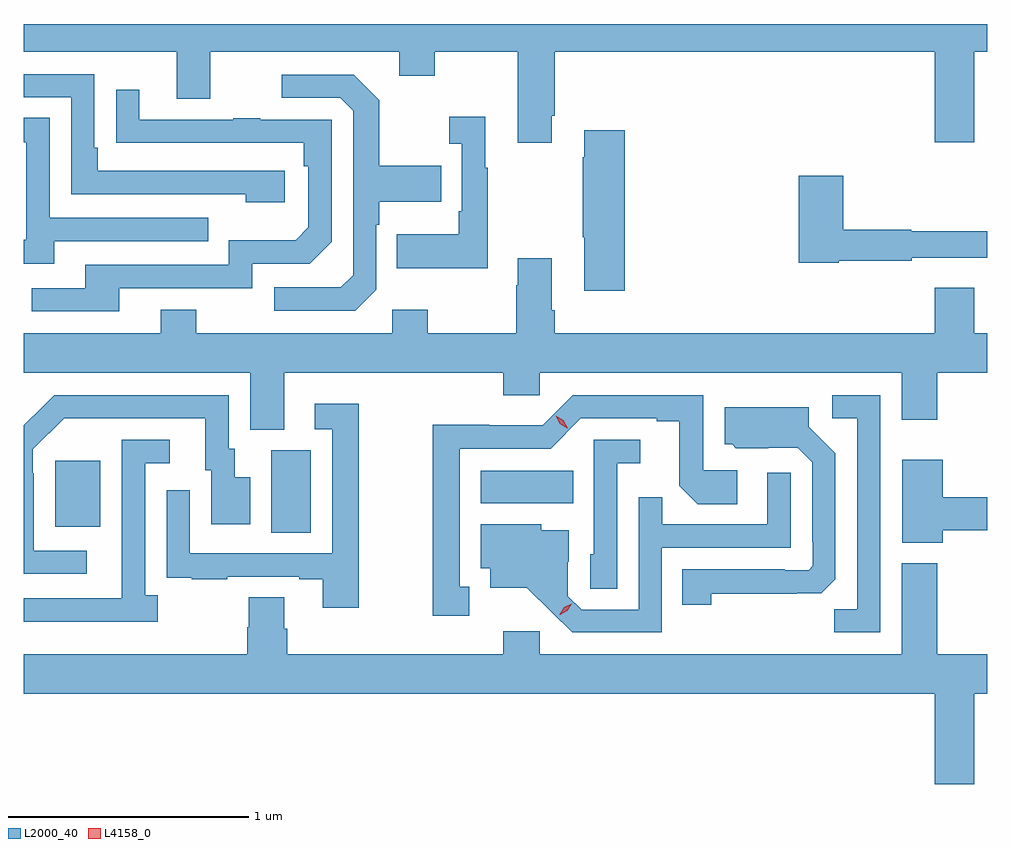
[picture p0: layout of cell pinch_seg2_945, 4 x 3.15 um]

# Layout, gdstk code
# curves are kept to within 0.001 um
import gdstk
lib = gdstk.Library(unit=1e-6, precision=1e-09)
def R(c, l, rs):  # rectangles x0, y0, x1, y1
    for r in rs: c.add(gdstk.rectangle(r[:2], r[2:], *l))
def P(c, l, *ps):  # polygons
    for p in ps: c.add(gdstk.Polygon(p, *l))
L2000_40 = (2000, 40)
L4158_0 = (4158, 0)

pinch_seg2_945 = lib.new_cell('pinch_seg2_945')
R(pinch_seg2_945, L2000_40, [(318.098,664.288,318.262,664.632), (317.201,664.313,317.389,664.588), (318.968,664.412,319.352,664.546)])
P(pinch_seg2_945, L2000_40, [(319.261,666.019),(319.274,666.019),(319.274,666.284),(320.852,666.284),(320.852,665.91),(321.016,665.91),(321.016,666.284),(321.07,666.284),(321.07,666.4),(317.07,666.4),(317.07,666.284),(317.705,666.284),(317.705,666.09),(317.845,666.09),(317.845,666.284),(318.629,666.284),(318.629,666.185),(318.777,666.185),(318.777,666.284),(319.121,666.284),(319.121,665.907),(319.261,665.907)],
  [(318.154,665.79),(317.377,665.79),(317.377,665.887),(317.364,665.887),(317.364,666.192),(317.07,666.192),(317.07,666.096),(317.268,666.096),(317.268,665.694),(317.993,665.694),(317.993,665.66),(318.154,665.66)],
  [(318.534,665.298),(318.534,665.567),(318.547,665.567),(318.547,665.663),(318.803,665.663),(318.803,665.811),(318.547,665.811),(318.547,666.083),(318.441,666.189),(318.141,666.189),(318.141,666.093),(318.384,666.093),(318.438,666.039),(318.438,665.358),(318.387,665.307),(318.111,665.307),(318.111,665.211),(318.447,665.211)],
  [(317.467,665.304),(318.018,665.304),(318.018,665.406),(318.258,665.406),(318.348,665.496),(318.348,666.003),(318.053,666.003),(318.053,666.008),(317.941,666.008),(317.941,666.003),(317.551,666.003),(317.551,666.127),(317.455,666.127),(317.455,665.908),(318.232,665.907),(318.232,665.81),(318.252,665.81),(318.252,665.556),(318.199,665.503),(317.922,665.503),(317.922,665.4),(317.327,665.4),(317.327,665.304),(317.103,665.304),(317.103,665.208),(317.467,665.208)],
  [(318.997,665.803),(318.985,665.803),(318.985,666.016),(318.837,666.016),(318.837,665.903),(318.888,665.903),(318.888,665.623),(318.876,665.623),(318.876,665.527),(318.619,665.527),(318.619,665.387),(318.997,665.387)],
  [(317.197,665.499),(317.837,665.499),(317.837,665.595),(317.178,665.595),(317.178,666.011),(317.07,666.011),(317.07,665.91),(317.082,665.91),(317.082,665.505),(317.07,665.505),(317.07,665.405),(317.197,665.405)],
  [(319.565,665.959),(319.397,665.959),(319.397,665.846),(319.39,665.846),(319.39,665.515),(319.397,665.515),(319.397,665.292),(319.565,665.292)],
  [(320.454,665.418),(320.756,665.418),(320.756,665.43),(321.07,665.43),(321.07,665.539),(320.754,665.539),(320.754,665.546),(320.471,665.546),(320.471,665.77),(320.288,665.77),(320.288,665.41),(320.454,665.41)],
  [(318.151,664.952),(319.061,664.952),(319.061,664.859),(319.212,664.859),(319.212,664.952),(320.714,664.952),(320.714,664.758),(320.862,664.758),(320.862,664.952),(321.07,664.952),(321.07,665.116),(321.016,665.116),(321.016,665.305),(320.852,665.305),(320.852,665.116),(319.274,665.116),(319.274,665.212),(319.261,665.212),(319.261,665.428),(319.121,665.428),(319.121,665.315),(319.114,665.315),(319.114,665.116),(318.747,665.116),(318.747,665.215),(318.6,665.215),(318.6,665.116),(317.787,665.116),(317.787,665.215),(317.639,665.215),(317.639,665.116),(317.07,665.116),(317.07,664.952),(318.011,664.952),(318.011,664.717),(318.151,664.717)],
  [(317.332,664.215),(317.112,664.215),(317.112,664.535),(317.109,664.535),(317.109,664.635),(317.238,664.764),(317.825,664.764),(317.825,664.548),(317.849,664.548),(317.849,664.323),(318.01,664.323),(318.01,664.519),(317.947,664.519),(317.947,664.638),(317.922,664.638),(317.922,664.86),(317.198,664.86),(317.107,664.769),(317.106,664.77),(317.07,664.734),(317.07,664.119),(317.332,664.119)],
  [(320.625,664.86),(320.427,664.86),(320.427,664.764),(320.529,664.764),(320.529,663.971),(320.434,663.971),(320.434,663.876),(320.625,663.876)],
  [(318.919,664.065),(318.88,664.065),(318.88,664.638),(319.257,664.638),(319.383,664.764),(319.697,664.764),(319.697,664.752),(319.791,664.752),(319.791,664.484),(319.867,664.408),(320.032,664.408),(320.032,664.548),(319.89,664.548),(319.89,664.86),(319.35,664.86),(319.224,664.734),(319.002,664.734),(319.002,664.736),(318.769,664.736),(318.769,663.945),(318.919,663.945)],
  [(318.46,664.825),(318.279,664.825),(318.279,664.719),(318.351,664.719),(318.351,664.203),(317.76,664.203),(317.76,664.465),(317.664,664.465),(317.664,664.21),(317.665,664.21),(317.665,664.101),(317.767,664.101),(317.767,664.095),(317.915,664.095),(317.915,664.107),(318.215,664.107),(318.215,664.095),(318.311,664.095),(318.311,663.978),(318.46,663.978)],
  [(319.923,664.036),(320.38,664.037),(320.439,664.096),(320.439,664.618),(320.329,664.728),(320.329,664.81),(319.979,664.81),(319.979,664.656),(320.01,664.656),(320.026,664.64),(320.283,664.641),(320.343,664.581),(320.343,664.252),(320.346,664.252),(320.346,664.152),(320.328,664.134),(320.228,664.134),(320.228,664.137),(319.804,664.137),(319.804,663.99),(319.923,663.99)],
  [(317.626,664.03),(317.574,664.03),(317.574,664.578),(317.677,664.578),(317.677,664.674),(317.478,664.674),(317.478,664.217),(317.477,664.217),(317.477,664.017),(317.07,664.017),(317.07,663.92),(317.626,663.92)],
  [(319.533,664.577),(319.63,664.577),(319.63,664.674),(319.437,664.674),(319.437,664.2),(319.422,664.2),(319.422,664.057),(319.533,664.057)],
  [(320.884,664.3),(321.07,664.3),(321.07,664.436),(320.884,664.436),(320.884,664.591),(320.717,664.591),(320.717,664.247),(320.884,664.247)],
  [(319.719,664.227),(320.253,664.227),(320.253,664.537),(320.157,664.537),(320.157,664.323),(319.721,664.323),(319.721,664.436),(319.623,664.436),(319.623,663.969),(319.386,663.969),(319.329,664.026),(319.329,664.168),(319.333,664.168),(319.333,664.3),(319.218,664.3),(319.218,664.324),(318.968,664.324),(318.968,664.142),(319.007,664.142),(319.007,664.061),(319.159,664.061),(319.346,663.876),(319.719,663.876)],
  [(321.016,663.62),(321.07,663.62),(321.07,663.784),(320.862,663.784),(320.862,664.162),(320.714,664.162),(320.714,663.784),(319.212,663.784),(319.212,663.88),(319.061,663.88),(319.061,663.784),(318.164,663.784),(318.164,663.89),(318.151,663.89),(318.151,664.022),(318.004,664.022),(318.004,663.897),(317.999,663.897),(317.999,663.784),(317.07,663.784),(317.07,663.62),(320.852,663.62),(320.852,663.246),(321.016,663.246)])
P(pinch_seg2_945, L4158_0, [(319.296,663.949),(319.296,663.95),(319.313,663.979),(319.344,663.994),(319.344,663.994),(319.344,663.994),(319.327,663.965),(319.297,663.949)],
  [(319.327,664.722),(319.296,664.741),(319.279,664.774),(319.279,664.774),(319.279,664.774),(319.31,664.755),(319.328,664.722),(319.328,664.722)])

lib.write_gds('pinch_seg2_945.gds')
